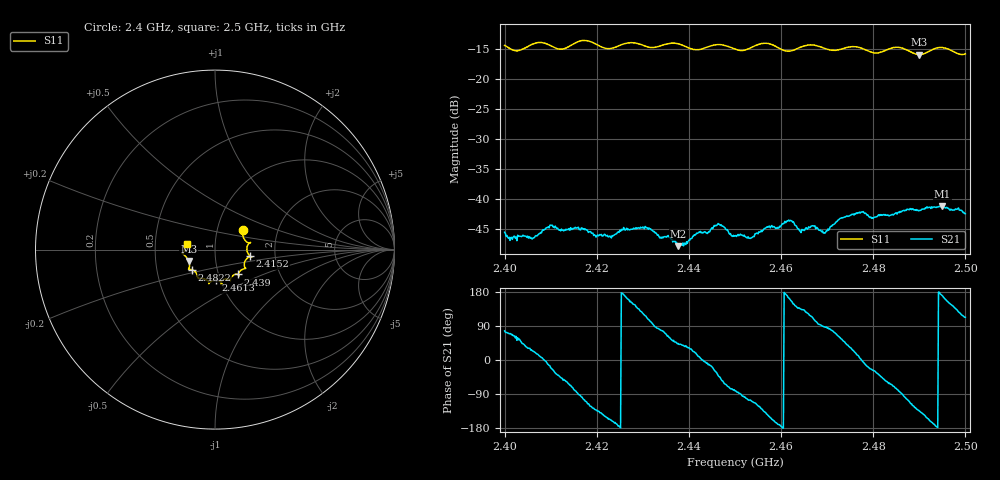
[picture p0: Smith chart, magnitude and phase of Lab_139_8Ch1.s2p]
# Hz S RI R 50
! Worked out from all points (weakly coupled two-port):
!   601 points, 2.4 GHz to 2.5 GHz, reference 50 ohm
!   highest |S21| = -41.26 dB at 2.495 GHz (marker M1); lowest = -47.9 dB at 2.4377 GHz (marker M2)
!   lowest |S11| = -15.9 dB at 2.49 GHz (marker M3), VSWR 1.38, Z = 36.9 - j4.82 ohm
!   |S11| at or under -10 dB: start of sweep to end of sweep
!   S12 and S22 are empty: the file has one direction only
!   S11 on the Smith chart (normalised r, x): 2.4 GHz: 1.33, +0.31; 2.4152 GHz: 1.48, -0.11; 2.439 GHz: 1.24, -0.36; 2.4613 GHz: 0.96, -0.34; 2.4822 GHz: 0.76, -0.17; 2.5 GHz: 0.73, +0.05
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2.4e9  0.1555 0.1108  0.00121 0.00512  0 0  0 0
2.406e9  0.1914 0.0369  0.00421 0.00189  0 0  0 0
2.409833e9  0.1882 0.0337  0.00581 -0.00159  0 0  0 0
2.415167e9  0.1951 -0.0362  0.00105 -0.00559  0 0  0 0
2.416667e9  0.2047 -0.0423  -0.000756 -0.00567  0 0  0 0
2.423e9  0.1641 -0.0733  -0.0045 -0.00178  0 0  0 0
2.4305e9  0.1526 -0.1104  -0.00264 0.00525  0 0  0 0
2.433333e9  0.132 -0.1321  0.000598 0.00497  0 0  0 0
2.437667e9  0.1346 -0.1437  0.00291 0.00278  0 0  0 0
2.439e9  0.1283 -0.1384  0.00344 0.00252  0 0  0 0
2.446167e9  0.0856 -0.1738  0.00484 -0.00365  0 0  0 0
2.45e9  0.0686 -0.1639  0.00072 -0.00486  0 0  0 0
2.456667e9  0.0392 -0.1951  -0.00431 -0.00374  0 0  0 0
2.461333e9  0.00725 -0.1705  -0.00645 0.00116  0 0  0 0
2.466667e9  -0.0335 -0.1899  -0.00243 0.00541  0 0  0 0
2.469333e9  -0.0379 -0.1768  0.00024 0.00519  0 0  0 0
2.4765e9  -0.0945 -0.1592  0.00734 0.00173  0 0  0 0
2.482167e9  -0.1282 -0.1119  0.00479 -0.00559  0 0  0 0
2.483333e9  -0.1396 -0.1103  0.00341 -0.00638  0 0  0 0
2.49e9  -0.1466 -0.0636  -0.00558 -0.00572  0 0  0 0
2.495e9  -0.182 -0.0208  -0.00851 0.00155  0 0  0 0
2.5e9  -0.1582 0.0337  -0.00286 0.00696  0 0  0 0
